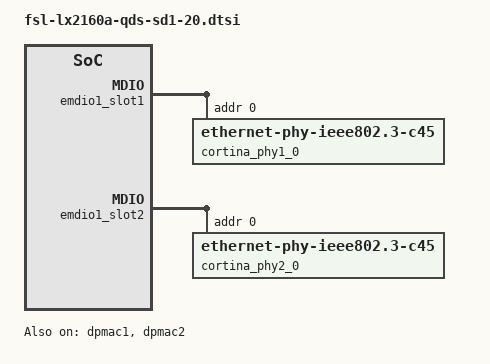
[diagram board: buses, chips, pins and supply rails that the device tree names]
// SPDX-License-Identifier: GPL-2.0+ OR X11
/*
 * NXP LX2160AQDS device tree source for the SERDES block #1 - protocol 20
 *
 * Some assumptions are made:
 *    * 2 mezzanine cards M13 are connected to IO SLOT1 and IO SLOT2
 *        (xlaui4 for DPMAC 1,2)
 *
 * Copyright 2020 NXP
 *
 */

#include "fsl-lx2160a-qds.dtsi"

&dpmac1 {
	status = "okay";
	phy-handle = <&cortina_phy1_0>;
	phy-connection-type = "xlaui4";
};

&dpmac2 {
	status = "okay";
	phy-handle = <&cortina_phy2_0>;
	phy-connection-type = "xlaui4";
};

&emdio1_slot1 {
	cortina_phy1_0: ethernet-phy@0 {
		compatible = "ethernet-phy-ieee802.3-c45";
		reg = <0x0>;
	};
};

&emdio1_slot2 {
	cortina_phy2_0: ethernet-phy@0 {
		compatible = "ethernet-phy-ieee802.3-c45";
		reg = <0x0>;
	};
};
